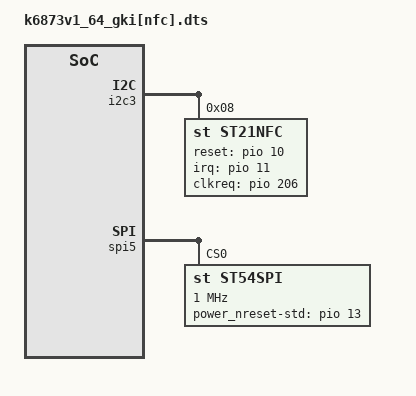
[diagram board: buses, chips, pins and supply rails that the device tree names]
// SPDX-License-Identifier: (GPL-2.0 OR MIT)
/*
 * Copyright (C) 2020 MediaTek Inc.
 * Author: Chun-Hung Wu <chun-hung.wu@mediatek.com>
 */
#include "k6873v1_64_gki.dts"

&i2c3 {
	st21nfc: st21nfc@08 {
		compatible = "st,st21nfc";
		reg = <0x08>;
		interrupt-parent = <&pio>;
		interrupts = <11 0>;
		reset-gpios = <&pio 10 0x00>;
		irq-gpios = <&pio 11 0x00>;
		clkreq-gpios = <&pio 206 0x00>;
		status = "ok";
	};
};

&spi5 {
	st54spi: st54spi@0 {
		compatible = "st,st54spi";
		reg = <0>;
		spi-max-frequency = <1000000>;

		/* gpio used as SE_PWR_REQ or SE_nRESET */
		gpio-power_nreset = <13>;
		gpio-power_nreset-std = <&pio 13 0x00>;

		/* Power management mode: none, ST54H (default), ST54J */
		power_mode = "ST54J";

		pinctrl-names = "pinctrl_nfc_spi_csb",
				"pinctrl_nfc_spi_clk",
				"pinctrl_nfc_spi_mi",
				"pinctrl_nfc_spi_mo",
				"pinctrl_nfc_spi_csb_idle",
				"pinctrl_nfc_spi_clk_idle",
				"pinctrl_nfc_spi_mi_idle",
				"pinctrl_nfc_spi_mo_idle";

		pinctrl-0 = <&pinctrl_nfc_spi_csb>;
		pinctrl-1 = <&pinctrl_nfc_spi_clk>;
		pinctrl-2 = <&pinctrl_nfc_spi_mi>;
		pinctrl-3 = <&pinctrl_nfc_spi_mo>;
		pinctrl-4 = <&pinctrl_nfc_spi_csb_idle>;
		pinctrl-5 = <&pinctrl_nfc_spi_clk_idle>;
		pinctrl-6 = <&pinctrl_nfc_spi_mi_idle>;
		pinctrl-7 = <&pinctrl_nfc_spi_mo_idle>;

		status = "okay";
	};
};

&pio {
	pinctrl_nfc_spi_csb: pinctrl_nfc_spi_csb {
		pins_cmd0_dat {
			pinmux = <PINMUX_GPIO37__FUNC_SPI5_A_CSB>;
			bias-disable;
		};
	};
	pinctrl_nfc_spi_clk: pinctrl_nfc_spi_clk {
		pins_cmd0_dat {
			pinmux = <PINMUX_GPIO36__FUNC_SPI5_A_CLK>;
			bias-disable;
		};
	};
	pinctrl_nfc_spi_mi: pinctrl_nfc_spi_mi {
		pins_cmd0_dat {
			pinmux = <PINMUX_GPIO38__FUNC_SPI5_A_MI>;
			bias-disable;
		};
	};
	pinctrl_nfc_spi_mo: pinctrl_nfc_spi_mo {
		pins_cmd0_dat {
			pinmux = <PINMUX_GPIO39__FUNC_SPI5_A_MO>;
			bias-disable;
		};
	};
	pinctrl_nfc_spi_csb_idle: pinctrl_nfc_spi_csb_idle {
		pins_cmd0_dat {
			pinmux = <PINMUX_GPIO37__FUNC_GPIO37>;
			bias-disable;
		};
	};
	pinctrl_nfc_spi_clk_idle: pinctrl_nfc_spi_clk_idle {
		pins_cmd0_dat {
			pinmux = <PINMUX_GPIO36__FUNC_GPIO36>;
			bias-disable;
		};
	};
	pinctrl_nfc_spi_mi_idle: pinctrl_nfc_spi_mi_idle {
		pins_cmd0_dat {
			pinmux = <PINMUX_GPIO38__FUNC_GPIO38>;
			bias-disable;
		};
	};
	pinctrl_nfc_spi_mo_idle: pinctrl_nfc_spi_mo_idle {
		pins_cmd0_dat {
			pinmux = <PINMUX_GPIO39__FUNC_GPIO39>;
			bias-disable;
		};
	};
};
